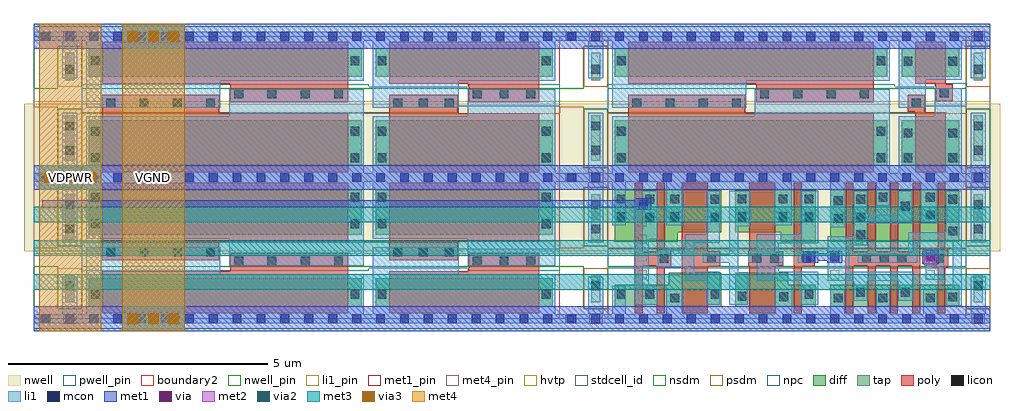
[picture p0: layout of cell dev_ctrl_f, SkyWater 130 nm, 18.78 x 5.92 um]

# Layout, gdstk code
from math import pi, radians
import gdstk
lib = gdstk.Library(unit=1e-6, precision=1e-09)
def R(c, l, rs):  # rectangles x0, y0, x1, y1
    for r in rs: c.add(gdstk.rectangle(r[:2], r[2:], *l))
def A(c, l, x, y, w, h, nx, ny, dx, dy):  # array of equal rectangles
    R(c, l, [(x+i*dx, y+j*dy, x+i*dx+w, y+j*dy+h) for i in range(nx) for j in range(ny)])
def P(c, l, *ps):  # polygons
    for p in ps: c.add(gdstk.Polygon(p, *l))
nwell_pin = (64, 16)
nwell = (64, 20)
diff = (65, 20)
tap = (65, 44)
poly = (66, 20)
licon = (66, 44)
li1_pin = (67, 16)
li1 = (67, 20)
mcon = (67, 44)
met1_pin = (68, 16)
met1 = (68, 20)
via = (68, 44)
met2 = (69, 20)
via2 = (69, 44)
met3 = (70, 20)
via3 = (70, 44)
met4_pin = (71, 16)
met4 = (71, 20)
hvtp = (78, 44)
stdcell_id = (81, 4)
nsdm = (93, 44)
psdm = (94, 20)
npc = (95, 20)
pwell_pin = (122, 16)
boundary2 = (236, 0)

sky130_fd_sc_hd__tapvpwr = lib.new_cell('sky130_fd_sc_hd__tapvpwrvgnd_1')
R(sky130_fd_sc_hd__tapvpwr, nwell, [(-0.19,1.305,0.65,2.91)])
R(sky130_fd_sc_hd__tapvpwr, tap, [(0.145,0.32,0.315,0.845), (0.145,1.525,0.315,2.4)])
R(sky130_fd_sc_hd__tapvpwr, licon, [(0.145,0.555,0.315,0.725), (0.145,1.645,0.315,1.815), (0.145,2.11,0.315,2.28)])
R(sky130_fd_sc_hd__tapvpwr, li1, [(0,-0.085,0.46,0.085), (0.085,0,0.375,0.81), (0.085,1.47,0.375,2.72), (0,2.635,0.46,2.805)])
R(sky130_fd_sc_hd__tapvpwr, mcon, [(0.145,-0.085,0.315,0.085), (0.145,2.635,0.315,2.805)])
R(sky130_fd_sc_hd__tapvpwr, met1_pin, [(0.105,-0.09,0.36,0.1), (0.11,2.62,0.375,2.765)])
R(sky130_fd_sc_hd__tapvpwr, met1, [(0,-0.24,0.46,0.24), (0,2.48,0.46,2.96)])
R(sky130_fd_sc_hd__tapvpwr, hvtp, [(0,1.25,0.46,2.72)])
R(sky130_fd_sc_hd__tapvpwr, stdcell_id, [(0,0,0.46,2.72)])
R(sky130_fd_sc_hd__tapvpwr, nsdm, [(0,-0.19,0.46,0.19), (0,1.395,0.46,2.53)])
R(sky130_fd_sc_hd__tapvpwr, psdm, [(0,0.19,0.46,0.975), (0,2.53,0.46,2.91)])
sky130_fd_sc_hd__tapvpwr.add(gdstk.Label('VPWR', (0.23,2.72), layer=68, texttype=5))
sky130_fd_sc_hd__tapvpwr.add(gdstk.Label('VGND', (0.23,0), layer=68, texttype=5))
sky130_fd_sc_hd__tapvpwr.add(gdstk.Label('tapvpwrvgnd_1', (0,0), layer=83, texttype=44))

sky130_fd_sc_hd__fill_1 = lib.new_cell('sky130_fd_sc_hd__fill_1')
R(sky130_fd_sc_hd__fill_1, nwell_pin, [(0.155,2.67,0.255,2.755)])
R(sky130_fd_sc_hd__fill_1, nwell, [(-0.19,1.305,0.65,2.91)])
R(sky130_fd_sc_hd__fill_1, mcon, [(0.145,-0.085,0.315,0.085), (0.145,2.635,0.315,2.805)])
R(sky130_fd_sc_hd__fill_1, met1_pin, [(0.11,-0.065,0.29,0.08), (0.11,2.635,0.29,2.785)])
R(sky130_fd_sc_hd__fill_1, hvtp, [(0,1.25,0.46,2.72)])
R(sky130_fd_sc_hd__fill_1, stdcell_id, [(0,0,0.46,2.72)])
R(sky130_fd_sc_hd__fill_1, nsdm, [(0,-0.19,0.46,1.015)])
R(sky130_fd_sc_hd__fill_1, psdm, [(0,1.355,0.46,2.91)])
R(sky130_fd_sc_hd__fill_1, pwell_pin, [(0.14,-0.055,0.26,0.055)])
sky130_fd_sc_hd__fill_1.add(gdstk.FlexPath([(0,0),(0.46,0)], 0.17, ends="flush", simple_path=True, layer=67, datatype=20))  # li1
sky130_fd_sc_hd__fill_1.add(gdstk.FlexPath([(0,2.72),(0.46,2.72)], 0.17, ends="flush", simple_path=True, layer=67, datatype=20))  # li1
sky130_fd_sc_hd__fill_1.add(gdstk.FlexPath([(0,2.72),(0.46,2.72)], 0.48, ends="flush", simple_path=True, layer=68, datatype=20))  # met1
sky130_fd_sc_hd__fill_1.add(gdstk.FlexPath([(0,0),(0.46,0)], 0.48, ends="flush", simple_path=True, layer=68, datatype=20))  # met1
sky130_fd_sc_hd__fill_1.add(gdstk.Label('VPWR', (0.205,2.72), layer=68, texttype=5))
sky130_fd_sc_hd__fill_1.add(gdstk.Label('VGND', (0.205,0), layer=68, texttype=5))
sky130_fd_sc_hd__fill_1.add(gdstk.Label('VPB', (0.23,2.72), layer=64, texttype=5))
sky130_fd_sc_hd__fill_1.add(gdstk.Label('VNB', (0.23,0), layer=64, texttype=59))
sky130_fd_sc_hd__fill_1.add(gdstk.Label('fill_1', (0,0), layer=83, texttype=44))

sky130_fd_sc_hd__decap_1 = lib.new_cell('sky130_fd_sc_hd__decap_12')
R(sky130_fd_sc_hd__decap_1, nwell_pin, [(0.145,2.635,0.315,2.805)])
R(sky130_fd_sc_hd__decap_1, nwell, [(-0.19,1.305,5.71,2.91)])
R(sky130_fd_sc_hd__decap_1, diff, [(0.135,0.235,5.385,0.785), (0.135,1.615,5.385,2.485)])
P(sky130_fd_sc_hd__decap_1, poly, [(5.125,2.615),(0.395,2.615),(0.395,1.125),(2.645,1.125),(2.645,1.485),(5.125,1.485)],
  [(5.125,1.275),(2.855,1.275),(2.855,0.915),(0.395,0.915),(0.395,0.105),(5.125,0.105)])
A(sky130_fd_sc_hd__decap_1, licon, 2.935, 1.025, 0.17, 0.17, 4, 1, 0.64, 0)
A(sky130_fd_sc_hd__decap_1, licon, 0.475, 1.205, 0.17, 0.17, 4, 1, 0.64, 0)
R(sky130_fd_sc_hd__decap_1, licon, [(0.175,0.39,0.345,0.56), (5.175,0.39,5.345,0.56), (0.175,1.745,0.345,1.915), (5.175,1.745,5.345,1.915), (0.175,2.255,0.345,2.425), (5.175,2.255,5.345,2.425)])
P(sky130_fd_sc_hd__decap_1, li1, [(5.52,0.085),(5.43,0.085),(5.43,0.855),(2.665,0.855),(2.665,1.375),(0.085,1.375),(0.085,0.085),(0,0.085),(0,-0.085),(5.52,-0.085)],
  [(5.52,2.805),(0,2.805),(0,2.635),(0.085,2.635),(0.085,1.545),(2.835,1.545),(2.835,1.025),(5.43,1.025),(5.43,2.635),(5.52,2.635)])
A(sky130_fd_sc_hd__decap_1, mcon, 0.145, -0.085, 0.17, 0.17, 12, 2, 0.46, 2.72)
R(sky130_fd_sc_hd__decap_1, met1_pin, [(0.145,-0.085,0.315,0.085), (0.145,2.635,0.315,2.805)])
R(sky130_fd_sc_hd__decap_1, hvtp, [(0,1.25,5.52,2.72)])
R(sky130_fd_sc_hd__decap_1, stdcell_id, [(0,0,5.52,2.72)])
R(sky130_fd_sc_hd__decap_1, nsdm, [(0,-0.19,5.52,1.015)])
R(sky130_fd_sc_hd__decap_1, psdm, [(0,1.485,5.52,2.91)])
R(sky130_fd_sc_hd__decap_1, npc, [(0,0.925,5.52,1.475)])
R(sky130_fd_sc_hd__decap_1, pwell_pin, [(0.145,-0.085,0.315,0.085)])
R(sky130_fd_sc_hd__decap_1, boundary2, [(0,0,5.52,2.72)])
sky130_fd_sc_hd__decap_1.add(gdstk.FlexPath([(0,2.72),(5.52,2.72)], 0.48, ends="flush", simple_path=True, layer=68, datatype=20))  # met1
sky130_fd_sc_hd__decap_1.add(gdstk.FlexPath([(0,0),(5.52,0)], 0.48, ends="flush", simple_path=True, layer=68, datatype=20))  # met1
sky130_fd_sc_hd__decap_1.add(gdstk.Label('VGND', (0.23,0), layer=68, texttype=5))
sky130_fd_sc_hd__decap_1.add(gdstk.Label('VPWR', (0.23,2.72), layer=68, texttype=5))
sky130_fd_sc_hd__decap_1.add(gdstk.Label('VPB', (0.23,2.72), layer=64, texttype=5))
sky130_fd_sc_hd__decap_1.add(gdstk.Label('VNB', (0.23,0), layer=64, texttype=59))
sky130_fd_sc_hd__decap_1.add(gdstk.Label('decap_12', (0,0), layer=83, texttype=44))

sky130_fd_sc_hd__decap_8 = lib.new_cell('sky130_fd_sc_hd__decap_8')
R(sky130_fd_sc_hd__decap_8, nwell_pin, [(0.145,2.635,0.315,2.805)])
R(sky130_fd_sc_hd__decap_8, nwell, [(-0.19,1.305,3.87,2.91)])
R(sky130_fd_sc_hd__decap_8, diff, [(0.135,0.235,3.545,0.785), (0.135,1.615,3.545,2.485)])
P(sky130_fd_sc_hd__decap_8, poly, [(3.285,2.615),(0.395,2.615),(0.395,1.125),(1.715,1.125),(1.715,1.485),(3.285,1.485)],
  [(3.285,1.275),(1.925,1.275),(1.925,0.915),(0.395,0.915),(0.395,0.105),(3.285,0.105)])
A(sky130_fd_sc_hd__decap_8, licon, 2.005, 1.025, 0.17, 0.17, 3, 1, 0.515, 0)
A(sky130_fd_sc_hd__decap_8, licon, 0.475, 1.205, 0.17, 0.17, 3, 1, 0.495, 0)
R(sky130_fd_sc_hd__decap_8, licon, [(0.175,0.39,0.345,0.56), (3.335,0.39,3.505,0.56), (0.175,1.745,0.345,1.915), (3.335,1.745,3.505,1.915), (0.175,2.255,0.345,2.425), (3.335,2.255,3.505,2.425)])
P(sky130_fd_sc_hd__decap_8, li1, [(3.68,0.085),(3.595,0.085),(3.595,0.855),(1.735,0.855),(1.735,1.375),(0.085,1.375),(0.085,0.085),(0,0.085),(0,-0.085),(3.68,-0.085)],
  [(3.68,2.805),(0,2.805),(0,2.635),(0.085,2.635),(0.085,1.545),(1.905,1.545),(1.905,1.025),(3.595,1.025),(3.595,2.635),(3.68,2.635)])
A(sky130_fd_sc_hd__decap_8, mcon, 0.145, -0.085, 0.17, 0.17, 8, 2, 0.46, 2.72)
R(sky130_fd_sc_hd__decap_8, met1_pin, [(0.145,-0.085,0.315,0.085), (0.145,2.635,0.315,2.805)])
R(sky130_fd_sc_hd__decap_8, hvtp, [(0,1.25,3.68,2.72)])
R(sky130_fd_sc_hd__decap_8, stdcell_id, [(0,0,3.68,2.72)])
R(sky130_fd_sc_hd__decap_8, nsdm, [(0,-0.19,3.68,1.015)])
R(sky130_fd_sc_hd__decap_8, psdm, [(0,1.485,3.68,2.91)])
P(sky130_fd_sc_hd__decap_8, npc, [(3.68,1.345),(1.735,1.345),(1.735,1.475),(0,1.475),(0,0.975),(1.905,0.975),(1.905,0.925),(3.68,0.925)])
R(sky130_fd_sc_hd__decap_8, pwell_pin, [(0.145,-0.085,0.315,0.085)])
R(sky130_fd_sc_hd__decap_8, boundary2, [(0,0,3.68,2.72)])
sky130_fd_sc_hd__decap_8.add(gdstk.FlexPath([(0,2.72),(3.68,2.72)], 0.48, ends="flush", simple_path=True, layer=68, datatype=20))  # met1
sky130_fd_sc_hd__decap_8.add(gdstk.FlexPath([(0,0),(3.68,0)], 0.48, ends="flush", simple_path=True, layer=68, datatype=20))  # met1
sky130_fd_sc_hd__decap_8.add(gdstk.Label('VPWR', (0.23,2.72), layer=68, texttype=5))
sky130_fd_sc_hd__decap_8.add(gdstk.Label('VGND', (0.23,0), layer=68, texttype=5))
sky130_fd_sc_hd__decap_8.add(gdstk.Label('VPB', (0.23,2.72), layer=64, texttype=5))
sky130_fd_sc_hd__decap_8.add(gdstk.Label('VNB', (0.23,0), layer=64, texttype=59))
sky130_fd_sc_hd__decap_8.add(gdstk.Label('decap_8', (0,0), layer=83, texttype=44))

sky130_fd_sc_hd__decap_3 = lib.new_cell('sky130_fd_sc_hd__decap_3')
R(sky130_fd_sc_hd__decap_3, nwell_pin, [(0.145,2.635,0.315,2.805)])
R(sky130_fd_sc_hd__decap_3, nwell, [(-0.19,1.305,1.57,2.91)])
R(sky130_fd_sc_hd__decap_3, diff, [(0.135,0.235,1.245,0.785), (0.135,1.615,1.245,2.485)])
P(sky130_fd_sc_hd__decap_3, poly, [(1.125,1.255),(0.795,1.255),(0.795,0.915),(0.395,0.915),(0.395,0.105),(0.985,0.105),(0.985,0.925),(1.125,0.925)],
  [(0.985,2.615),(0.395,2.615),(0.395,1.455),(0.255,1.455),(0.255,1.125),(0.585,1.125),(0.585,1.465),(0.985,1.465)])
R(sky130_fd_sc_hd__decap_3, licon, [(0.175,0.4,0.345,0.57), (1.035,0.4,1.205,0.57), (0.875,1.005,1.045,1.175), (0.335,1.205,0.505,1.375), (0.175,1.78,0.345,1.95), (1.035,1.78,1.205,1.95), (0.175,2.255,0.345,2.425), (1.035,2.255,1.205,2.425)])
P(sky130_fd_sc_hd__decap_3, li1, [(1.38,2.805),(0,2.805),(0,2.635),(0.085,2.635),(0.085,1.545),(0.775,1.545),(0.775,1.005),(1.295,1.005),(1.295,2.635),(1.38,2.635)],
  [(1.38,0.085),(1.295,0.085),(1.295,0.835),(0.605,0.835),(0.605,1.375),(0.085,1.375),(0.085,0.085),(0,0.085),(0,-0.085),(1.38,-0.085)])
A(sky130_fd_sc_hd__decap_3, mcon, 0.145, -0.085, 0.17, 0.17, 3, 2, 0.46, 2.72)
R(sky130_fd_sc_hd__decap_3, met1_pin, [(0.145,-0.085,0.315,0.085), (0.145,2.635,0.315,2.805)])
R(sky130_fd_sc_hd__decap_3, hvtp, [(0,1.25,1.38,2.72)])
R(sky130_fd_sc_hd__decap_3, stdcell_id, [(0,0,1.38,2.72)])
R(sky130_fd_sc_hd__decap_3, nsdm, [(0,-0.19,1.38,1.015)])
R(sky130_fd_sc_hd__decap_3, psdm, [(0,1.485,1.38,2.91)])
P(sky130_fd_sc_hd__decap_3, npc, [(1.38,1.345),(0.605,1.345),(0.605,1.475),(0,1.475),(0,0.975),(0.775,0.975),(0.775,0.905),(1.38,0.905)])
R(sky130_fd_sc_hd__decap_3, pwell_pin, [(0.145,-0.085,0.315,0.085)])
R(sky130_fd_sc_hd__decap_3, boundary2, [(0,0,1.38,2.72)])
sky130_fd_sc_hd__decap_3.add(gdstk.FlexPath([(0,2.72),(1.38,2.72)], 0.48, ends="flush", simple_path=True, layer=68, datatype=20))  # met1
sky130_fd_sc_hd__decap_3.add(gdstk.FlexPath([(0,0),(1.38,0)], 0.48, ends="flush", simple_path=True, layer=68, datatype=20))  # met1
sky130_fd_sc_hd__decap_3.add(gdstk.Label('VPWR', (0.23,2.72), layer=68, texttype=5))
sky130_fd_sc_hd__decap_3.add(gdstk.Label('VGND', (0.23,0), layer=68, texttype=5))
sky130_fd_sc_hd__decap_3.add(gdstk.Label('VPB', (0.23,2.72), layer=64, texttype=5))
sky130_fd_sc_hd__decap_3.add(gdstk.Label('VNB', (0.23,0), layer=64, texttype=59))
sky130_fd_sc_hd__decap_3.add(gdstk.Label('decap_3', (0,0), layer=83, texttype=44))

sky130_fd_sc_hd__clkdlyb = lib.new_cell('sky130_fd_sc_hd__clkdlybuf4s50_2')
R(sky130_fd_sc_hd__clkdlyb, nwell_pin, [(0.15,2.635,0.32,2.805)])
R(sky130_fd_sc_hd__clkdlyb, nwell, [(-0.19,1.305,4.33,2.91)])
P(sky130_fd_sc_hd__clkdlyb, diff, [(1.68,2.485),(0.135,2.485),(0.135,1.485),(0.805,1.485),(0.805,1.665),(1.68,1.665)],
  [(1.68,0.885),(0.665,0.885),(0.665,0.655),(0.135,0.655),(0.135,0.235),(1.68,0.235)],
  [(4.005,2.485),(1.95,2.485),(1.95,1.665),(2.79,1.665),(2.79,1.485),(4.005,1.485)],
  [(4.005,0.655),(2.96,0.655),(2.96,0.885),(1.95,0.885),(1.95,0.235),(4.005,0.235)])
P(sky130_fd_sc_hd__clkdlyb, poly, [(0.555,2.615),(0.405,2.615),(0.405,1.305),(0.15,1.305),(0.15,1.015),(0.405,1.015),(0.405,0.105),(0.555,0.105)],
  [(1.435,1.295),(1.415,1.295),(1.415,2.615),(0.915,2.615),(0.915,1.295),(0.765,1.295),(0.765,1.025),(0.915,1.025),(0.915,0.105),(1.415,0.105),(1.415,1.025),(1.435,1.025)],
  [(2.71,2.615),(2.21,2.615),(2.21,1.305),(1.975,1.305),(1.975,1.015),(2.21,1.015),(2.21,0.105),(2.71,0.105)],
  [(3.615,2.615),(3.465,2.615),(3.465,1.295),(3.19,1.295),(3.19,2.615),(3.04,2.615),(3.04,1.325),(2.92,1.325),(2.92,0.995),(3.04,0.995),(3.04,0.105),(3.19,0.105),(3.19,1.025),(3.465,1.025),(3.465,0.105),(3.615,0.105)])
R(sky130_fd_sc_hd__clkdlyb, licon, [(2.765,0.315,2.935,0.485), (0.665,0.34,0.835,0.51), (1.47,0.35,1.64,0.52), (0.18,0.385,0.35,0.555), (1.99,0.385,2.16,0.555), (3.245,0.385,3.415,0.555), (3.795,0.385,3.965,0.555), (0.23,1.075,0.4,1.245), (0.845,1.075,1.015,1.245), (1.185,1.075,1.355,1.245), (2.055,1.075,2.225,1.245), (2.97,1.075,3.14,1.245), (1.99,1.875,2.16,2.045), (3.245,1.875,3.415,2.045), (0.18,1.88,0.35,2.05), (0.68,1.88,0.85,2.05), (1.47,1.88,1.64,2.05), (2.765,1.88,2.935,2.05), (3.795,1.88,3.965,2.05), (1.99,2.215,2.16,2.385), (3.245,2.215,3.415,2.385), (0.18,2.22,0.35,2.39), (0.68,2.22,0.85,2.39), (1.47,2.22,1.64,2.39), (2.765,2.22,2.935,2.39), (3.795,2.22,3.965,2.39)])
A(sky130_fd_sc_hd__clkdlyb, li1_pin, 3.39, 0.425, 0.17, 0.17, 1, 6, 0, 0.34)
R(sky130_fd_sc_hd__clkdlyb, li1_pin, [(0.15,1.105,0.32,1.275)])
R(sky130_fd_sc_hd__clkdlyb, li1, [(0.085,1.075,0.48,1.285)])
P(sky130_fd_sc_hd__clkdlyb, li1, [(4.14,0.085),(4.055,0.085),(4.055,0.635),(3.795,0.635),(3.795,0.085),(3.015,0.085),(3.015,0.565),(2.685,0.565),(2.685,0.085),(0.915,0.085),(0.915,0.565),(0.585,0.565),(0.585,0.085),(0,0.085),(0,-0.085),(4.14,-0.085)],
  [(4.14,2.805),(0,2.805),(0,2.635),(0.6,2.635),(0.6,1.8),(0.93,1.8),(0.93,2.635),(2.685,2.635),(2.685,1.8),(3.015,1.8),(3.015,2.635),(3.795,2.635),(3.795,1.8),(4.055,1.8),(4.055,2.635),(4.14,2.635)],
  [(1.435,1.245),(1.27,1.245),(1.27,1.63),(0.43,1.63),(0.43,2.465),(0.085,2.465),(0.085,1.455),(0.85,1.455),(0.85,1.245),(0.765,1.245),(0.765,1.075),(0.85,1.075),(0.85,0.905),(0.085,0.905),(0.085,0.27),(0.415,0.27),(0.415,0.735),(1.27,0.735),(1.27,1.075),(1.435,1.075)],
  [(2.305,1.245),(1.795,1.245),(1.795,2.465),(1.39,2.465),(1.39,1.785),(1.625,1.785),(1.625,0.9),(1.44,0.9),(1.44,0.27),(1.795,0.27),(1.795,1.075),(2.305,1.075)],
  [(3.175,1.325),(2.645,1.325),(2.645,1.63),(2.235,1.63),(2.235,2.465),(1.985,2.465),(1.985,1.46),(2.475,1.46),(2.475,0.905),(1.985,0.905),(1.985,0.27),(2.235,0.27),(2.235,0.735),(2.645,0.735),(2.645,0.995),(3.175,0.995)],
  [(3.625,2.465),(3.185,2.465),(3.185,1.53),(3.345,1.53),(3.345,0.64),(3.185,0.64),(3.185,0.27),(3.625,0.27)])
A(sky130_fd_sc_hd__clkdlyb, mcon, 0.145, -0.085, 0.17, 0.17, 9, 2, 0.46, 2.72)
R(sky130_fd_sc_hd__clkdlyb, met1_pin, [(0.15,-0.085,0.32,0.085), (0.15,2.635,0.32,2.805)])
R(sky130_fd_sc_hd__clkdlyb, hvtp, [(0,1.25,4.14,2.72)])
R(sky130_fd_sc_hd__clkdlyb, stdcell_id, [(0,0,4.14,2.72)])
R(sky130_fd_sc_hd__clkdlyb, nsdm, [(0,-0.19,4.14,1.015)])
R(sky130_fd_sc_hd__clkdlyb, psdm, [(0,1.355,4.14,2.91)])
R(sky130_fd_sc_hd__clkdlyb, npc, [(0,0.975,4.14,1.345)])
R(sky130_fd_sc_hd__clkdlyb, pwell_pin, [(0.15,-0.085,0.32,0.085)])
R(sky130_fd_sc_hd__clkdlyb, boundary2, [(0,0,4.14,2.72)])
sky130_fd_sc_hd__clkdlyb.add(gdstk.FlexPath([(0,2.72),(4.14,2.72)], 0.48, ends="flush", simple_path=True, layer=68, datatype=20))  # met1
sky130_fd_sc_hd__clkdlyb.add(gdstk.FlexPath([(0,0),(4.14,0)], 0.48, ends="flush", simple_path=True, layer=68, datatype=20))  # met1
sky130_fd_sc_hd__clkdlyb.add(gdstk.Label('A', (0.235,1.19), layer=67, texttype=5))
sky130_fd_sc_hd__clkdlyb.add(gdstk.Label('X', (3.475,2.21), layer=67, texttype=5))
sky130_fd_sc_hd__clkdlyb.add(gdstk.Label('X', (3.475,1.87), layer=67, texttype=5))
sky130_fd_sc_hd__clkdlyb.add(gdstk.Label('X', (3.475,1.53), layer=67, texttype=5))
sky130_fd_sc_hd__clkdlyb.add(gdstk.Label('X', (3.475,1.19), layer=67, texttype=5))
sky130_fd_sc_hd__clkdlyb.add(gdstk.Label('X', (3.475,0.85), layer=67, texttype=5))
sky130_fd_sc_hd__clkdlyb.add(gdstk.Label('X', (3.475,0.51), layer=67, texttype=5))
sky130_fd_sc_hd__clkdlyb.add(gdstk.Label('VNB', (0.23,0), layer=64, texttype=59))
sky130_fd_sc_hd__clkdlyb.add(gdstk.Label('VPB', (0.23,2.72), layer=64, texttype=5))
sky130_fd_sc_hd__clkdlyb.add(gdstk.Label('VGND', (0.23,0), layer=68, texttype=5))
sky130_fd_sc_hd__clkdlyb.add(gdstk.Label('VPWR', (0.23,2.72), layer=68, texttype=5))
sky130_fd_sc_hd__clkdlyb.add(gdstk.Label('clkdlybuf4s50_2', (0,0), layer=83, texttype=44))

sky130_fd_sc_hd__clkbuf_ = lib.new_cell('sky130_fd_sc_hd__clkbuf_4')
R(sky130_fd_sc_hd__clkbuf_, nwell_pin, [(0.145,2.635,0.315,2.805)])
R(sky130_fd_sc_hd__clkbuf_, nwell, [(-0.19,1.305,2.95,2.91)])
R(sky130_fd_sc_hd__clkbuf_, diff, [(0.135,0.235,2.615,0.655), (0.135,1.485,2.62,2.485)])
P(sky130_fd_sc_hd__clkbuf_, poly, [(2.325,1.185),(2.32,1.185),(2.32,2.615),(2.17,2.615),(2.17,1.295),(1.89,1.295),(1.89,2.615),(1.74,2.615),(1.74,1.295),(1.46,1.295),(1.46,2.615),(1.31,2.615),(1.31,1.295),(1.03,1.295),(1.03,2.615),(0.88,2.615),(0.88,1.05),(0.885,1.05),(0.885,0.105),(1.035,0.105),(1.035,1.02),(1.315,1.02),(1.315,0.105),(1.465,0.105),(1.465,1.02),(1.745,1.02),(1.745,0.105),(1.895,0.105),(1.895,1.02),(2.175,1.02),(2.175,0.105),(2.325,0.105)],
  [(0.645,1.325),(0.55,1.325),(0.55,2.615),(0.4,2.615),(0.4,1.325),(0.345,1.325),(0.345,0.995),(0.4,0.995),(0.4,0.105),(0.55,0.105),(0.55,0.995),(0.645,0.995)])
A(sky130_fd_sc_hd__clkbuf_, licon, 1.155, 1.075, 0.17, 0.17, 3, 1, 0.34, 0)
A(sky130_fd_sc_hd__clkbuf_, licon, 1.945, 1.535, 0.17, 0.17, 1, 3, 0, 0.34)
R(sky130_fd_sc_hd__clkbuf_, licon, [(0.605,0.315,0.775,0.485), (1.52,0.315,1.69,0.485), (2.38,0.315,2.55,0.485), (0.175,0.335,0.345,0.505), (1.09,0.425,1.26,0.595), (1.95,0.425,2.12,0.595), (0.425,1.075,0.595,1.245), (0.175,1.605,0.345,1.775), (2.375,1.845,2.545,2.015), (0.605,1.915,0.775,2.085), (1.085,2.08,1.255,2.25), (2.375,2.185,2.545,2.355), (0.175,2.215,0.345,2.385), (0.605,2.255,0.775,2.425), (1.515,2.255,1.685,2.425)])
R(sky130_fd_sc_hd__clkbuf_, li1_pin, [(0.605,0.765,0.775,0.935), (2.445,0.765,2.615,0.935), (0.605,1.105,0.775,1.275), (2.445,1.105,2.615,1.275), (1.985,1.445,2.155,1.615)])
R(sky130_fd_sc_hd__clkbuf_, li1, [(0.425,0.755,0.775,1.325)])
P(sky130_fd_sc_hd__clkbuf_, li1, [(2.76,0.085),(2.615,0.085),(2.615,0.565),(2.335,0.565),(2.335,0.085),(1.73,0.085),(1.73,0.565),(1.475,0.565),(1.475,0.085),(0.83,0.085),(0.83,0.565),(0.555,0.565),(0.555,0.085),(0,0.085),(0,-0.085),(2.76,-0.085)],
  [(2.66,1.585),(2.165,1.585),(2.165,2.465),(1.905,2.465),(1.905,2.005),(1.305,2.005),(1.305,2.465),(1.045,2.465),(1.045,1.835),(1.905,1.835),(1.905,1.415),(2.255,1.415),(2.255,0.905),(1.01,0.905),(1.01,0.345),(1.305,0.345),(1.305,0.735),(1.905,0.735),(1.905,0.345),(2.165,0.345),(2.165,0.735),(2.66,0.735)],
  [(2.085,1.245),(1.115,1.245),(1.115,1.665),(0.395,1.665),(0.395,2.465),(0.085,2.465),(0.085,0.255),(0.385,0.255),(0.385,0.585),(0.255,0.585),(0.255,1.495),(0.945,1.495),(0.945,1.075),(2.085,1.075)],
  [(2.76,2.805),(0,2.805),(0,2.635),(0.565,2.635),(0.565,1.835),(0.875,1.835),(0.875,2.635),(1.475,2.635),(1.475,2.175),(1.73,2.175),(1.73,2.635),(2.335,2.635),(2.335,1.765),(2.62,1.765),(2.62,2.635),(2.76,2.635)])
A(sky130_fd_sc_hd__clkbuf_, mcon, 0.145, -0.085, 0.17, 0.17, 6, 2, 0.46, 2.72)
R(sky130_fd_sc_hd__clkbuf_, met1_pin, [(0.145,-0.085,0.315,0.085), (0.145,2.635,0.315,2.805)])
R(sky130_fd_sc_hd__clkbuf_, hvtp, [(0,1.25,2.76,2.72)])
R(sky130_fd_sc_hd__clkbuf_, stdcell_id, [(0,0,2.76,2.72)])
R(sky130_fd_sc_hd__clkbuf_, nsdm, [(0,-0.19,2.76,1.015)])
R(sky130_fd_sc_hd__clkbuf_, psdm, [(0,1.355,2.76,2.91)])
R(sky130_fd_sc_hd__clkbuf_, npc, [(0,0.975,2.76,1.345)])
R(sky130_fd_sc_hd__clkbuf_, pwell_pin, [(0.145,-0.085,0.315,0.085)])
R(sky130_fd_sc_hd__clkbuf_, boundary2, [(0,0,2.76,2.72)])
sky130_fd_sc_hd__clkbuf_.add(gdstk.FlexPath([(0,0),(2.76,0)], 0.48, ends="flush", simple_path=True, layer=68, datatype=20))  # met1
sky130_fd_sc_hd__clkbuf_.add(gdstk.FlexPath([(0,2.72),(2.76,2.72)], 0.48, ends="flush", simple_path=True, layer=68, datatype=20))  # met1
sky130_fd_sc_hd__clkbuf_.add(gdstk.Label('X', (2.07,1.53), layer=67, texttype=5))
sky130_fd_sc_hd__clkbuf_.add(gdstk.Label('A', (0.69,0.85), layer=67, texttype=5))
sky130_fd_sc_hd__clkbuf_.add(gdstk.Label('X', (2.53,0.85), layer=67, texttype=5))
sky130_fd_sc_hd__clkbuf_.add(gdstk.Label('A', (0.69,1.19), layer=67, texttype=5))
sky130_fd_sc_hd__clkbuf_.add(gdstk.Label('X', (2.53,1.19), layer=67, texttype=5))
sky130_fd_sc_hd__clkbuf_.add(gdstk.Label('VGND', (0.23,0), layer=68, texttype=5))
sky130_fd_sc_hd__clkbuf_.add(gdstk.Label('VPWR', (0.23,2.72), layer=68, texttype=5))
sky130_fd_sc_hd__clkbuf_.add(gdstk.Label('VPB', (0.23,2.72), layer=64, texttype=5))
sky130_fd_sc_hd__clkbuf_.add(gdstk.Label('VNB', (0.23,0), layer=64, texttype=59))
sky130_fd_sc_hd__clkbuf_.add(gdstk.Label('clkbuf_4', (0,0), layer=83, texttype=44))

dev_ctrl_f = lib.new_cell('dev_ctrl_f')
R(dev_ctrl_f, li1, [(14.865,1.105,15.035,1.275), (15.325,1.105,15.495,1.275), (17.165,1.105,17.335,1.275), (11.645,2.125,11.815,2.295)])
R(dev_ctrl_f, mcon, [(14.865,1.105,15.035,1.275), (15.325,1.105,15.495,1.275), (17.165,1.105,17.335,1.275), (11.645,2.125,11.815,2.295)])
R(dev_ctrl_f, met1, [(1.7,-0.21,2.9,0.21), (17.09,1.06,17.41,1.32), (14.805,1.075,15.095,1.12), (15.265,1.075,15.555,1.12), (14.805,1.12,15.555,1.26), (14.805,1.26,15.095,1.305), (15.265,1.26,15.555,1.305), (11.585,2.095,11.875,2.14), (0.16,2.14,11.875,2.28), (11.585,2.28,11.875,2.325), (0.1,2.51,1.3,2.93), (1.7,5.23,2.9,5.65)])
A(dev_ctrl_f, via, 1.905, -0.075, 0.15, 0.15, 3, 2, 0.32, 5.44)
A(dev_ctrl_f, via, 0.305, 2.645, 0.15, 0.15, 3, 1, 0.32, 0)
R(dev_ctrl_f, via, [(17.175,1.115,17.325,1.265)])
R(dev_ctrl_f, met2, [(1.7,-0.24,2.9,0.24), (17.12,1.03,17.38,1.35), (0.1,2.48,1.3,2.96), (1.7,5.2,2.9,5.68)])
A(dev_ctrl_f, via2, 1.8, -0.1, 0.2, 0.2, 3, 2, 0.4, 5.44)
A(dev_ctrl_f, via2, 0.2, 2.62, 0.2, 0.2, 3, 1, 0.4, 0)
A(dev_ctrl_f, met3, 0, 0.56, 18.4, 0.3, 1, 3, 0, 0.65)
R(dev_ctrl_f, met3, [(1.7,-0.24,2.9,0.24), (0.1,2.48,1.3,2.96), (1.7,5.2,2.9,5.68)])
A(dev_ctrl_f, via3, 1.8, -0.1, 0.2, 0.2, 3, 2, 0.4, 5.44)
A(dev_ctrl_f, via3, 0.2, 2.62, 0.2, 0.2, 3, 1, 0.4, 0)
R(dev_ctrl_f, met4_pin, [(0.1,-0.24,1.3,5.68), (1.7,-0.24,2.9,5.68)])
R(dev_ctrl_f, met4, [(0.1,-0.24,1.3,5.68), (1.7,-0.24,2.9,5.68)])
R(dev_ctrl_f, hvtp, [(1.135,2.665,6.225,2.775), (6.655,2.665,9.905,2.775), (11.385,2.665,13.15,2.775), (13.585,2.665,14.955,2.775), (15.44,2.665,16.345,2.775), (16.775,2.665,17.72,2.775)])
R(dev_ctrl_f, nsdm, [(6.43,0.11,6.45,0.91), (15.17,0.11,15.2,0.78), (6.43,4.53,6.45,5.33), (16.55,4.53,16.57,5.33)])
R(dev_ctrl_f, psdm, [(15.17,1.36,15.195,2.61), (6.43,1.49,6.45,2.61), (0.93,2.61,10.11,2.83), (11.05,2.61,17.93,2.83), (6.43,2.83,6.45,3.95), (16.55,2.83,16.57,3.95)])
dev_ctrl_f.add(gdstk.Reference(sky130_fd_sc_hd__tapvpwr, (17.94,5.44), x_reflection=True))
dev_ctrl_f.add(gdstk.Reference(sky130_fd_sc_hd__tapvpwr, (10.58,5.44), x_reflection=True))
dev_ctrl_f.add(gdstk.Reference(sky130_fd_sc_hd__tapvpwr, (0.46,5.44), x_reflection=True))
dev_ctrl_f.add(gdstk.Reference(sky130_fd_sc_hd__tapvpwr, (17.94,0)))
dev_ctrl_f.add(gdstk.Reference(sky130_fd_sc_hd__tapvpwr, (10.58,0)))
dev_ctrl_f.add(gdstk.Reference(sky130_fd_sc_hd__tapvpwr, (0.46,0)))
dev_ctrl_f.add(gdstk.Reference(sky130_fd_sc_hd__fill_1, (10.12,5.44), x_reflection=True))
dev_ctrl_f.add(gdstk.Reference(sky130_fd_sc_hd__fill_1, (0,5.44), x_reflection=True))
dev_ctrl_f.add(gdstk.Reference(sky130_fd_sc_hd__fill_1, (10.12,0)))
dev_ctrl_f.add(gdstk.Reference(sky130_fd_sc_hd__fill_1, (0,0)))
dev_ctrl_f.add(gdstk.Reference(sky130_fd_sc_hd__decap_1, (11.04,5.44), x_reflection=True))
dev_ctrl_f.add(gdstk.Reference(sky130_fd_sc_hd__decap_1, (0.92,5.44), x_reflection=True))
dev_ctrl_f.add(gdstk.Reference(sky130_fd_sc_hd__decap_1, (0.92,0)))
dev_ctrl_f.add(gdstk.Reference(sky130_fd_sc_hd__decap_8, (6.44,5.44), x_reflection=True))
dev_ctrl_f.add(gdstk.Reference(sky130_fd_sc_hd__decap_8, (6.44,0)))
dev_ctrl_f.add(gdstk.Reference(sky130_fd_sc_hd__decap_3, (16.56,5.44), x_reflection=True))
dev_ctrl_f.add(gdstk.Reference(sky130_fd_sc_hd__clkdlyb, (15.18,0), rotation=pi, x_reflection=True))
dev_ctrl_f.add(gdstk.Reference(sky130_fd_sc_hd__clkbuf_, (17.94,0), rotation=pi, x_reflection=True))
dev_ctrl_f.add(gdstk.Label('VGND', (2.3,2.72), layer=71, texttype=5))
dev_ctrl_f.add(gdstk.Label('VDPWR', (0.7,2.72), layer=71, texttype=5))

lib.write_gds('dev_ctrl_f.gds')
